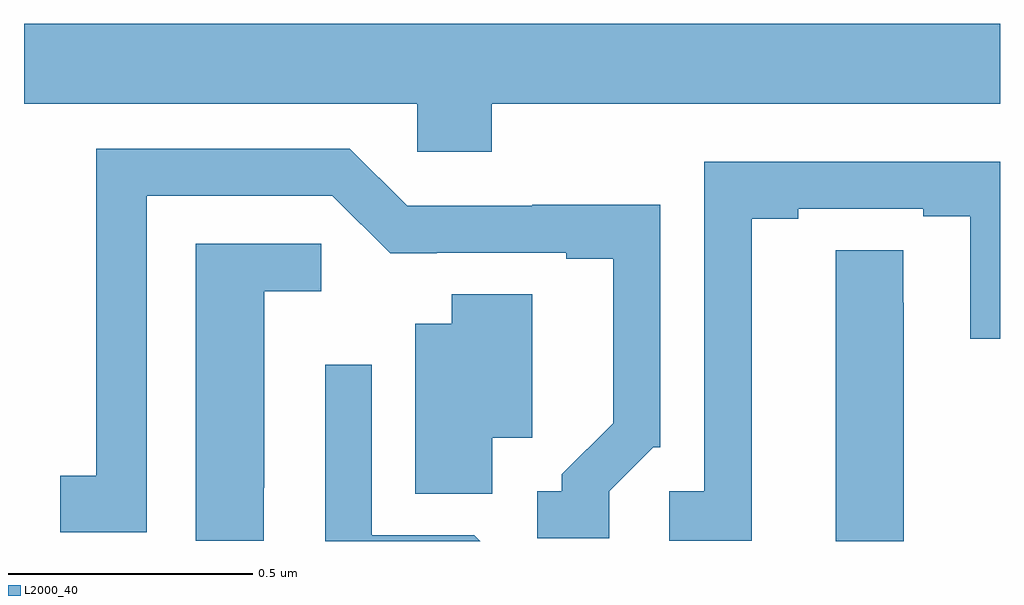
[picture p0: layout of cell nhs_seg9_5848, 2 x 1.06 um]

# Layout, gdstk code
import gdstk
lib = gdstk.Library(unit=1e-6, precision=1e-09)
def P(c, l, *ps):  # polygons
    for p in ps: c.add(gdstk.Polygon(p, *l))
L2000_40 = (2000, 40)

nhs_seg9_5848 = lib.new_cell('nhs_seg9_5848')
P(nhs_seg9_5848, L2000_40, [(184.958,1220.396),(186,1220.396),(186,1220.56),(184,1220.56),(184,1220.396),(184.806,1220.396),(184.806,1220.298),(184.958,1220.298)],
  [(185.199,1219.602),(185.289,1219.692),(185.304,1219.692),(185.304,1220.189),(185.041,1220.189),(185.041,1220.187),(184.785,1220.187),(184.668,1220.304),(184.148,1220.304),(184.148,1219.634),(184.074,1219.634),(184.074,1219.518),(184.252,1219.518),(184.252,1220.208),(184.632,1220.208),(184.75,1220.09),(184.846,1220.09),(184.846,1220.091),(185.111,1220.091),(185.111,1220.079),(185.207,1220.079),(185.207,1219.742),(185.102,1219.637),(185.102,1219.602),(185.052,1219.602),(185.052,1219.506),(185.199,1219.506)],
  [(185.491,1220.161),(185.587,1220.161),(185.587,1220.181),(185.843,1220.181),(185.843,1220.166),(185.939,1220.166),(185.939,1219.915),(186,1219.915),(186,1220.277),(185.394,1220.277),(185.394,1219.602),(185.322,1219.602),(185.322,1219.501),(185.491,1219.501)],
  [(184.491,1219.609),(184.492,1219.609),(184.492,1220.012),(184.609,1220.012),(184.609,1220.109),(184.352,1220.109),(184.352,1219.501),(184.491,1219.501)],
  [(185.803,1219.988),(185.802,1219.988),(185.802,1220.096),(185.663,1220.096),(185.663,1219.5),(185.803,1219.5)],
  [(184.96,1219.712),(185.041,1219.712),(185.041,1220.006),(184.877,1220.006),(184.877,1219.945),(184.802,1219.945),(184.802,1219.597),(184.96,1219.597)],
  [(184.923,1219.512),(184.713,1219.512),(184.713,1219.861),(184.617,1219.861),(184.617,1219.5),(184.935,1219.5)])

lib.write_gds('nhs_seg9_5848.gds')
